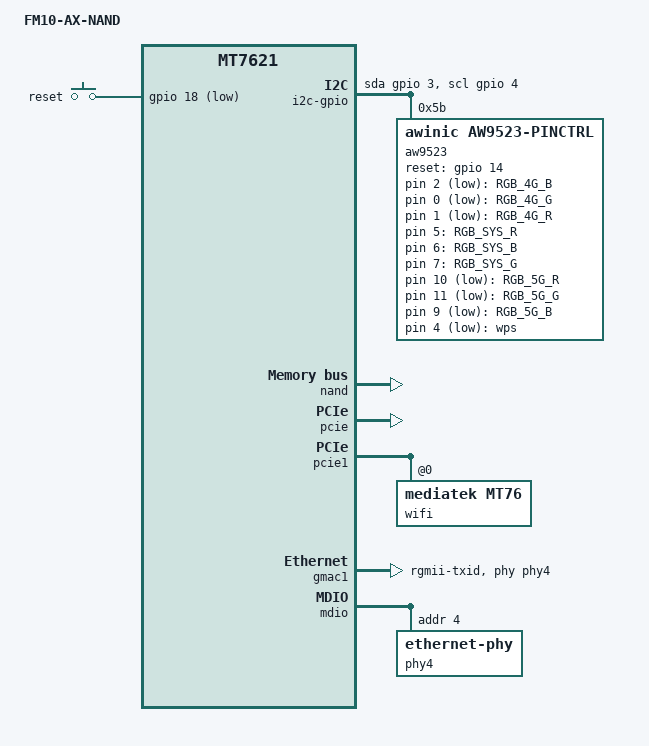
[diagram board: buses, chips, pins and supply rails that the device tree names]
/dts-v1/;

#include "mt7621.dtsi"

#include <dt-bindings/gpio/gpio.h>
#include <dt-bindings/input/input.h>

/ {
	compatible = "xwrt,fm10-ax-nand", "mediatek,mt7621-soc";
	model = "FM10-AX-NAND";

	aliases {
		label-mac-device = &gmac0;
	};

	chosen {
		bootargs = "console=ttyS0,115200";
	};

	leds {
		compatible = "gpio-leds";
		pinctrl-names = "default";
		pinctrl-0 = <&led1_pins &led2_pins>;

		RGB4G_B {
			label = "RGB_4G_B";
			gpios = <&aw9523 2 GPIO_ACTIVE_LOW>;
		};

		RGB4G_G {
			label = "RGB_4G_G";
			gpios = <&aw9523 0 GPIO_ACTIVE_LOW>;
		};

		RGB4G_R {
			label = "RGB_4G_R";
			gpios = <&aw9523 1 GPIO_ACTIVE_LOW>;
		};

		RGBSYS_R {
			label = "RGB_SYS_R";
			gpios = <&aw9523 5 GPIO_ACTIVE_HIGH>;
		};

		RGBSYS_B {
			label = "RGB_SYS_B";
			gpios = <&aw9523 6 GPIO_ACTIVE_HIGH>;
		};

		RGBSYS_G {
			label = "RGB_SYS_G";
			gpios = <&aw9523 7 GPIO_ACTIVE_HIGH>;
		};

		RGB5G_R {
			label = "RGB_5G_R";
			gpios = <&aw9523 10 GPIO_ACTIVE_LOW>;
		};

		RGB5G_G {
			label = "RGB_5G_G";
			gpios = <&aw9523 11 GPIO_ACTIVE_LOW>;
		};

		RGB5G_B {
			label = "RGB_5G_B";
			gpios = <&aw9523 9 GPIO_ACTIVE_LOW>;
		};
	};

	keys {
		compatible = "gpio-keys-polled";
		poll-interval = <50>;
		pinctrl-names = "default";
		pinctrl-0 = <&button_pins>;

		reset {
			label = "reset";
			gpios = <&gpio 18 GPIO_ACTIVE_LOW>;
			linux,code = <KEY_RESTART>;
		};

		wps {
			label = "wps";
			gpios = <&aw9523 4 GPIO_ACTIVE_LOW>;
			linux,code = <KEY_WPS_BUTTON>;
		};
	};

	i2c-gpio {
		#address-cells = <1>;
		#size-cells = <0>;

		compatible = "i2c-gpio";
		gpios = <&gpio 3 GPIO_ACTIVE_HIGH &gpio 4 GPIO_ACTIVE_HIGH>;
		i2c-gpio,delay-us = <10>;

		aw9523: gpio-expander@5b {
			compatible = "awinic,aw9523-pinctrl";
			reg = <0x5b>;
			gpio-controller;
			#gpio-cells = <2>;
			gpio-ranges = <&aw9523 0 0 16>;

			reset-gpios = <&gpio 14 GPIO_ACTIVE_HIGH>;

			button_pins: button-pins {
				pins = "gpio4";
				function = "gpio";
				bias-pull-up;
				drive-open-drain;
				input-enable;
			};

			led1_pins: led1-pins {
				pins = "gpio0", "gpio1", "gpio2", "gpio9", "gpio10", "gpio11";
				function = "gpio";
				input-disable;
				output-low;
			};

			led2_pins: led2-pins {
				pins = "gpio5", "gpio6", "gpio7";
				function = "gpio";
				input-disable;
				output-high;
			};
		};
	};
};

&nand {
	status = "okay";

	partitions {
		compatible = "fixed-partitions";
		#address-cells = <1>;
		#size-cells = <1>;

		partition@0 {
			label = "Bootloader";
			reg = <0x0 0x80000>;
		};

		partition@80000 {
			label = "Config";
			reg = <0x80000 0x80000>;
		};

		factory: partition@100000 {
			label = "factory";
			reg = <0x100000 0x80000>;
			read-only;
		};

		partition@180000 {
			label = "kernel";
			reg = <0x180000 0x400000>;
		};

		partition@580000 {
			label = "ubi";
			reg = <0x580000 0x7180000>;
		};
	};
};

&pcie {
	status = "okay";
};

&pcie1 {
	wifi@0,0 {
		compatible = "mediatek,mt76";
		reg = <0x0000 0 0 0 0>;
		mediatek,mtd-eeprom = <&factory 0x0000>;
		mtd-mac-address = <&factory 0x4>;
		nvmem-cells = <&macaddr_factory_4>;
		nvmem-cell-names = "mac-address";
		mediatek,disable-radar-background;
	};
};

&ethernet {
	pinctrl-names = "default";
	pinctrl-0 = <&rgmii1_pins &rgmii2_pins &mdio_pins>;
};

&gmac0 {
	nvmem-cells = <&macaddr_factory_4>;
	nvmem-cell-names = "mac-address";
	mtd-mac-address = <&factory 0x4>;
	mac-address-increment = <(-2)>;
};

&gmac1 {
	status = "okay";
	label = "wan4g";
	nvmem-cells = <&macaddr_factory_4>;
	nvmem-cell-names = "mac-address";
	mtd-mac-address = <&factory 0x4>;
	mac-address-increment = <(-1)>;
	phy-mode = "rgmii-txid";
	phy-handle = <&phy4>;
};

&mdio {
	phy4: ethernet-phy@4 {
		reg = <4>;
	};
};

&switch0 {
	ports {
		port@0 {
			status = "okay";
			label = "wan";
		};

		port@2 {
			status = "okay";
			label = "lan2";
		};

		port@3 {
			status = "okay";
			label = "lan1";
		};
	};
};

&state_default {
	gpio {
		groups = "i2c", "jtag", "uart3";
		function = "gpio";
	};

	uart2 {
		groups = "uart2";
		function = "uart2";
	};
};

&factory {
	compatible = "nvmem-cells";
	#address-cells = <1>;
	#size-cells = <1>;

	macaddr_factory_4: macaddr@4 {
		reg = <0x4 0x6>;
	};
};
